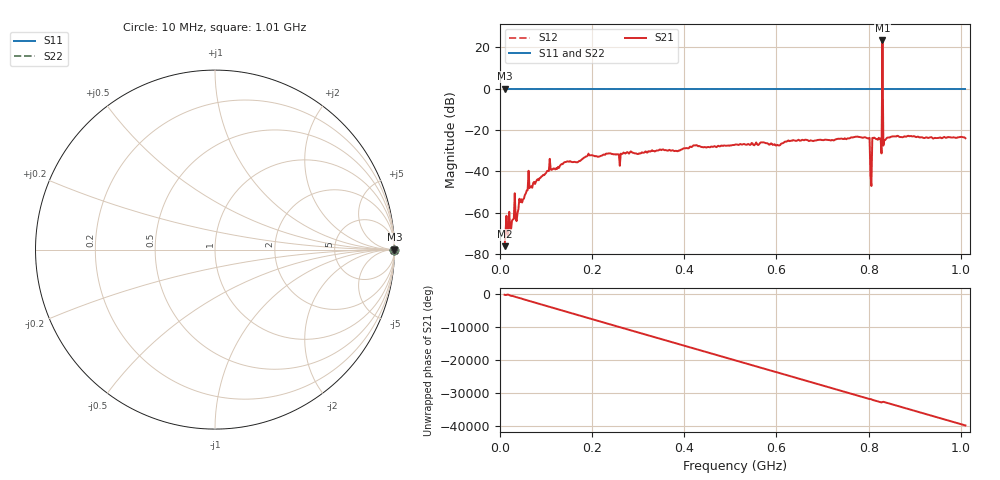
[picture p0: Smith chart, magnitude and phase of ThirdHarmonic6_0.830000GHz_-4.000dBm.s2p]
! 8/16/2025 3:32:56 AM
! C:\ANRITSUVNA\TEMP\TEMP.S2P
! CHANNEL.1
! TR.MEASUREMENT
! RAW.DATA
! RF.CORRECTION.OFF
! AVERAGING.OFF
! IF.BANDWIDTH: 5KHZ
! SWEEPTYPE:  FREQ.SWEEP(Linear)
! Reference Plane Port Info
! PORT:  PORT1  PORT2
! DISTANCE:  0  m  0  m
! TIME:  0  s  0  s
! PHASE.OFFSET:  0  deg.  0  deg.
! LOSS:  0  dB  0  dB
! REF.LOSS:  0  dB  0  dB
! REF.FREQ:  0  Hz  0  Hz
! Power Info
! POWER:  -20  dBm  -20  dBm
! EFF.POWER:  -20  dBm  -20  dBm
! SOURCE.ATTEN:  0  dB  0  dB
! TEST.ATTEN:  0  dB  0  dB
# GHZ S RI R 50.0
! FREQ.GHZ  S11RE  S11IM  S21RE  S21IM  S12RE  S12IM  S22RE  S22IM
!; PortSelection: Port_12
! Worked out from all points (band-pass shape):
!   501 points, 10 MHz to 1.01 GHz, reference 50 ohm
!   highest |S21| = 23.25 dB at 830 MHz (marker M1); lowest = -76.2 dB at 10 MHz (marker M2)
!   |S21| within 3 dB of the highest: 829.8902 MHz to 830.1181 MHz (227.9 kHz wide, 0.0275 % of centre)
!   lowest |S11| = 0.0 dB at 10 MHz (marker M3)
!   |S11| at or under -10 dB: nowhere
!   |S22| runs from 0.0 to 0.0 dB; largest |S21 - S12| = 15
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0.01  1 0  -0.000108 -0.000111  1 0  1 0
0.016  1 0  0.000107 -0.000293  1 0  1 0
0.026  1 0  -0.000355 -0.000531  1 0  1 0
0.03  1 0  3.07e-05 0.000706  1 0  1 0
0.038  1 0  -0.000473 0.000858  1 0  1 0
0.062  1 0  -0.00166 -0.0102  1 0  1 0
0.106  1 0  -0.00718 -0.00711  1 0  1 0
0.178  1 0  -0.0188 -0.00519  1 0  1 0
0.344  1 0  0.0315 -0.00545  1 0  1 0
0.51  1 0  -0.0419 0.0132  1 0  1 0
0.678  1 0  -0.0204 -0.0502  1 0  1 0
0.798  1 0  -0.00336 0.0623  1 0  1 0
0.802  1 0  0.0257 -0.0587  1 0  1 0
0.808  1 0  0.0363 0.053  1 0  1 0
0.812  1 0  -0.0228 -0.061  1 0  1 0
0.824  1 0  -0.0381 0.0477  1 0  1 0
0.826  1 0  0.039 0.0477  1 0  1 0
0.83  1 0  -5.611 13.41  1 0  1 0
0.834  1 0  0.00117 0.0563  1 0  1 0
0.836  1 0  0.0561 0.0115  1 0  1 0
0.844  1 0  0.0435 0.0495  1 0  1 0
1.01  1 0  -0.0589 -0.0225  1 0  1 0
